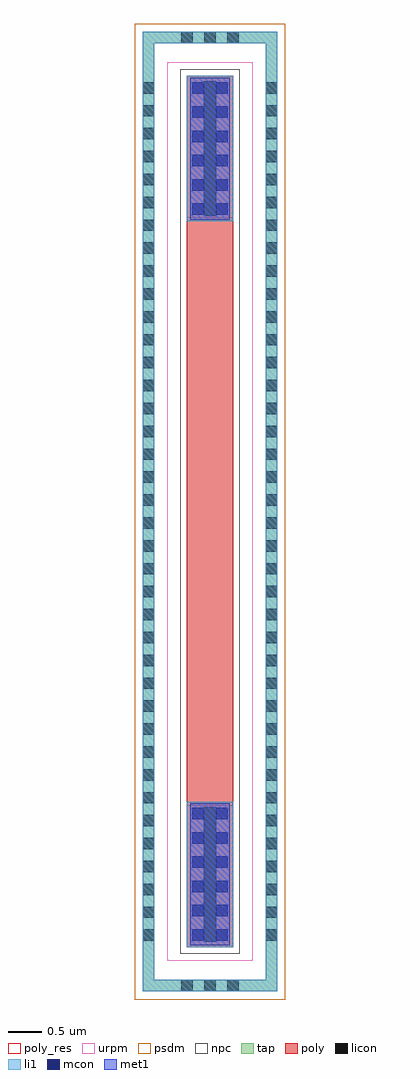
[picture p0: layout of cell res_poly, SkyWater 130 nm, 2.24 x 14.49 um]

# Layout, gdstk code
import gdstk
lib = gdstk.Library(unit=1e-6, precision=1e-09)
def R(c, l, rs):  # rectangles x0, y0, x1, y1
    for r in rs: c.add(gdstk.rectangle(r[:2], r[2:], *l))
def A(c, l, x, y, w, h, nx, ny, dx, dy):  # array of equal rectangles
    R(c, l, [(x+i*dx, y+j*dy, x+i*dx+w, y+j*dy+h) for i in range(nx) for j in range(ny)])
tap = (65, 44)
poly_res = (66, 13)
poly = (66, 20)
licon = (66, 44)
li1 = (67, 20)
mcon = (67, 44)
met1 = (68, 20)
urpm = (79, 20)
psdm = (94, 20)
npc = (95, 20)

res_poly = lib.new_cell('res_poly')
R(res_poly, tap, [(-0.995,-7.12,0.995,-6.95), (-0.995,-6.95,-0.825,6.95), (0.825,-6.95,0.995,6.95), (-0.995,6.95,0.995,7.12)])
R(res_poly, poly_res, [(-0.345,-4.37,0.345,4.37)])
R(res_poly, poly, [(-0.345,-6.47,0.345,6.47)])
A(res_poly, licon, -0.425, -7.12, 0.17, 0.17, 3, 2, 0.34, 14.07)
A(res_poly, licon, -0.995, -6.375, 0.17, 0.17, 1, 38, 0, 0.34)
A(res_poly, licon, 0.825, -6.375, 0.17, 0.17, 1, 38, 0, 0.34)
R(res_poly, licon, [(-0.095,-6.39,0.095,-4.39), (-0.095,4.39,0.095,6.39)])
R(res_poly, li1, [(-0.995,-7.12,0.995,-6.95), (-0.995,-6.95,-0.825,6.95), (0.825,-6.95,0.995,6.95), (-0.345,-6.47,0.345,-4.31), (-0.345,4.31,0.345,6.47), (-0.995,6.95,0.995,7.12)])
A(res_poly, mcon, -0.265, -6.37, 0.17, 0.17, 1, 6, 0, 0.36)
A(res_poly, mcon, 0.095, -6.37, 0.17, 0.17, 1, 6, 0, 0.36)
A(res_poly, mcon, -0.265, 4.405, 0.17, 0.17, 1, 6, 0, 0.36)
A(res_poly, mcon, 0.095, 4.405, 0.17, 0.17, 1, 6, 0, 0.36)
R(res_poly, met1, [(-0.295,-6.44,0.295,-4.335), (-0.295,4.335,0.295,6.44)])
R(res_poly, urpm, [(-0.635,-6.67,0.635,6.67)])
R(res_poly, psdm, [(-1.12,-7.245,1.12,7.245)])
R(res_poly, npc, [(-0.44,-6.565,0.44,6.565)])

lib.write_gds('res_poly.gds')
